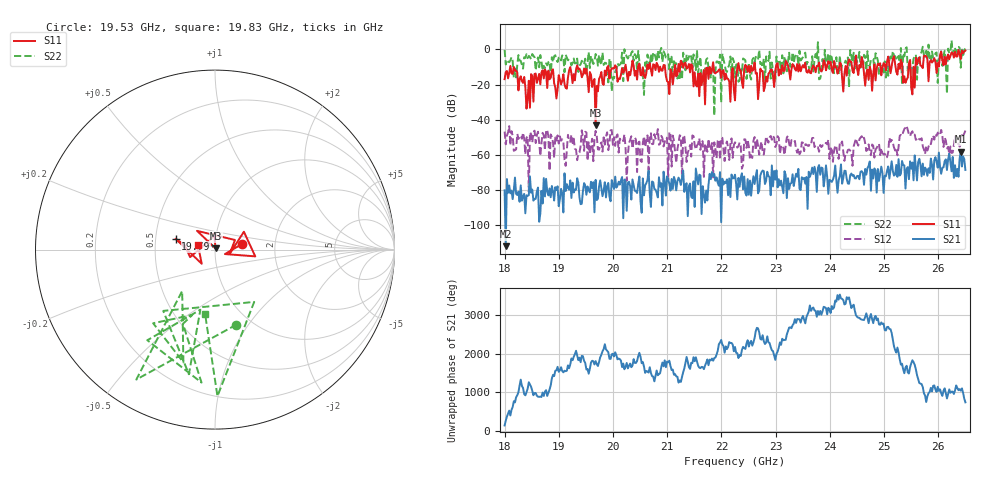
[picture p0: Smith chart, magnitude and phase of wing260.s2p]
!Keysight Technologies,N5242B,MY47200105,A.14.00.23
!Date: Friday, May 10, 2024 11:15:22
!Correction: S11(C  2-Port  )
!S21(C  2-Port  )
!S12(C  2-Port  )
!S22(C  2-Port  )
!S2P File: Measurement: :
# Hz S  RI  R 50
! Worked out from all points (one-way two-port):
!   401 points, 18 GHz to 26.5 GHz, reference 50 ohm
!   highest |S21| = -58.33 dB at 26.41 GHz (marker M1); lowest = -112.2 dB at 18.02 GHz (marker M2)
!   lowest |S11| = -43.2 dB at 19.68 GHz (marker M3), VSWR 1.01, Z = 50.3 + j0.625 ohm
!   |S11| at or under -10 dB: 18.17 GHz to 19.33 GHz (1.16 GHz wide, 6.18 % of centre); 19.35 GHz to 19.9 GHz (548.3 MHz wide, 2.79 % of centre); 21.86 GHz to 22.3 GHz (442 MHz wide, 2 % of centre) (the widest 3 of 60)
!   |S22| runs from -37.7 to 5.2 dB; largest |S21 - S12| = 0.0066
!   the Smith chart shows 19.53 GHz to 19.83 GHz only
!   S11 on the Smith chart (normalised r, x): 19.53 GHz: 1.36, +0.09; 19.79 GHz: 0.64, +0.08; 19.83 GHz: 0.83, +0.04
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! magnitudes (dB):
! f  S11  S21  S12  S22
! 18 GHz  -16.9  -80.4  -46.9  -0.2
! 18.02 GHz  -12.9  -112.2  -54.1  -8.5
! 18.43 GHz  -28.2  -83.5  -49.6  -4.9
! 18.72 GHz  -16.5  -73.4  -49.0  -9.3
! 19.42 GHz  -15.8  -88.0  -46.1  -6.4
! 19.53 GHz  -16.2  -78.2  -63.4  -7.2
! 19.68 GHz  -43.2  -74.4  -46.4  -2.6
! 19.79 GHz  -12.9  -79.2  -53.0  -8.8
! 19.83 GHz  -20.2  -80.4  -50.2  -8.8
! 20.02 GHz  -10.8  -79.6  -50.0  -16.5
! 20.38 GHz  -9.2  -77.4  -52.2  -6.5
! 20.55 GHz  -10.2  -73.6  -53.2  -13.7
! 20.85 GHz  -12.8  -72.9  -54.3  -4.5
! 21.23 GHz  -12.8  -74.6  -48.9  -17.5
! 21.4 GHz  -8.3  -77.9  -56.9  -4.2
! 21.85 GHz  -7.2  -72.2  -73.0  -8.9
! 22.25 GHz  -29.1  -71.4  -53.0  -16.0
! 23.67 GHz  -10.7  -67.4  -50.5  -3.8
! 25.1 GHz  -9.0  -73.6  -50.4  -6.1
! 25.52 GHz  -25.6  -64.5  -46.7  -10.0
! 26.41 GHz  -5.4  -58.3  -54.1  -10.4
! 26.5 GHz  -0.6  -68.7  -46.3  0.5
